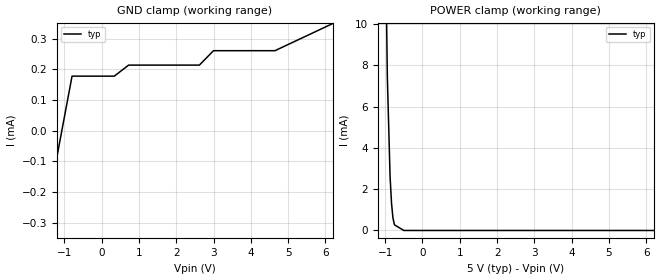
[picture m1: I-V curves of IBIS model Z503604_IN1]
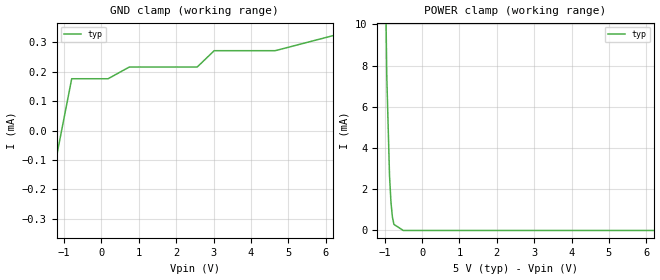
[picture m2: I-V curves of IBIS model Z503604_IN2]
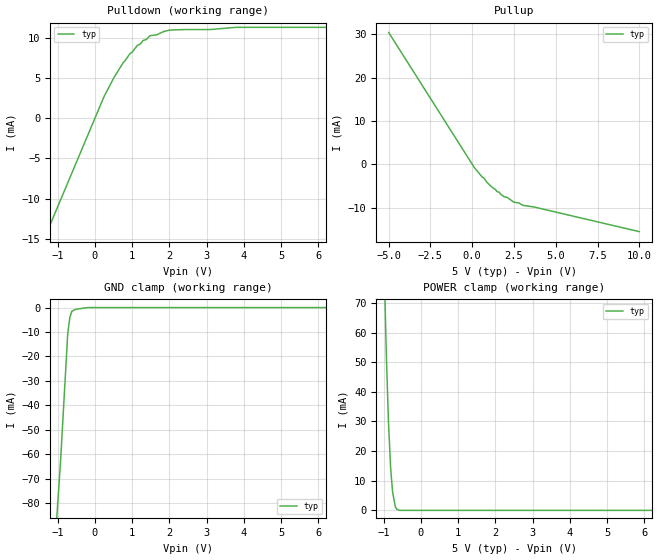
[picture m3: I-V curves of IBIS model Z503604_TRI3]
| YOU ARE ONLY AUTHORIZED TO USE THIS SOFTWARE
| ACCORDING TO LICENSOR'S LICENSE RESTRICTIONS.
[IBIS Ver] 3.1
[File Name] mc14503bp.ibs
[File Rev] 2.0
[Source] Measured and created by ICX Technology
[Date] Friday 7/14/00 9:07:55 AM
[Copyright]
| (C) COPYRIGHT 1993-2000
| MENTOR GRAPHICS CORPORATION
| ICX STANDARD LIBRARY, ICX PROJECT MODELING,
| ICX CUSTOM MODELING, ICX VENDOR MODEL
| ALL RIGHTS RESERVED.
| THE FOLLOWING ARE TRADEMARKS OR SERVICE MARKS OF
| MENTOR GRAPHICS CORPORATION:ICX (R), ICX STANDARD
| LIBRARY(R), ICX PROJECT MODELING(R), ICX CUSTOM
| MODELING(R), qualityIBIS(TM), MODELVIEWER(TM),
| AND MODELEDITOR(TM)
| ALL COPIES OF SOFTWARE, INCLUDING BUT NOT LIMITED TO
| ANY MODIFICATIONS, ENHANCEMENTS OR DERIVATIVE WORKS,
| MUST CONTAIN ALL MENTOR GRAPHICS CORPORATION'S
| NOTICES AND LEGENDS, INCLUDING THOSE EMBEDDED IN
| SOFTWARE AND THOSE AFFIXED TO SOFTWARE MEDIUM
| AND CONTAINER, AS RECEIVED FROM MENTOR GRAPHICS
| CORPORATION.
|  ZAP Model Builder 2.7
[Component] MC14503BP
[Manufacturer] OnSemiconductor
[Package]
| variable   typ   min   max
R_pkg  .212ohms NA NA
L_pkg  4.758nH NA NA
C_pkg  1.944pF NA NA
[Pin] signal_name  model_name  R_pin  L_pin C_pin
1 DISABLE Z503604_IN1 .224 7.258n 2.683p
2 IN1 Z503604_IN2 .216 5.258n 2.19p
3 OUT1 Z503604_TRI3 .208 3.758n 1.697p
4 IN2 Z503604_IN2 .2 2.758n 1.204p
5 OUT2 Z503604_TRI3 .2 2.758n 1.204p
6 IN3 Z503604_IN2 .208 3.758n 1.697p
7 OUT3 Z503604_TRI3 .216 5.258n 2.19p
8 VSS POWER .224 7.258n 2.683p
9 OUT4 Z503604_TRI3 .224 7.258n 2.683p
10 IN4 Z503604_IN2 .216 5.258n 2.19p
11 OUT5 Z503604_TRI3 .208 3.758n 1.697p
12 IN5 Z503604_IN2 .2 2.758n 1.204p
13 OUT6 Z503604_TRI3 .2 2.758n 1.204p
14 IN6 Z503604_IN2 .208 3.758n 1.697p
15 DISABLE Z503604_IN1 .216 5.258n 2.19p
16 VDD POWER .224 7.258n 2.683p
| Models and submodels in the file (3): Z503604_IN1 (Input), Z503604_IN2 (Input), Z503604_TRI3 (3-state)
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| (C) COPYRIGHT 1993-2000
| MENTOR GRAPHICS CORPORATION
| ICX STANDARD LIBRARY, ICX PROJECT MODELING,
| ICX CUSTOM MODELING, ICX VENDOR MODEL
| ALL RIGHTS RESERVED.
| THE FOLLOWING ARE TRADEMARKS OR SERVICE MARKS OF
| MENTOR GRAPHICS CORPORATION:ICX (R), ICX STANDARD
| LIBRARY(R), ICX PROJECT MODELING(R), ICX CUSTOM
| MODELING(R), qualityIBIS(TM), MODELVIEWER(TM),
| AND MODELEDITOR(TM)
| ALL COPIES OF SOFTWARE, INCLUDING BUT NOT LIMITED TO
| ANY MODIFICATIONS, ENHANCEMENTS OR DERIVATIVE WORKS,
| MUST CONTAIN ALL MENTOR GRAPHICS CORPORATION'S
| NOTICES AND LEGENDS, INCLUDING THOSE EMBEDDED IN
| SOFTWARE AND THOSE AFFIXED TO SOFTWARE MEDIUM
| AND CONTAINER, AS RECEIVED FROM MENTOR GRAPHICS
| CORPORATION.
| Model Application Version 1.89 2/18/99.
[Model] Z503604_IN1
Model_type Input
Vinl = 1.500V
Vinh = 3.500V
C_comp 4.000pF NA NA
| variable typ   min   max
[Voltage Range] 5.000V NA NA
[GND Clamp Reference] 0.000V NA NA
[POWER Clamp Reference] 5.000V NA NA
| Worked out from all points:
|   POWER clamp passes 1 mA (typ) near -0.81 V on its own axis
[GND Clamp]
-5V       -2.553mA   NA         NA
-794mV    177.3uA    NA         NA
338.7mV   177.3uA    NA         NA
722.9mV   213.3uA    NA         NA
2.619V    213.3uA    NA         NA
2.998V    260.3uA    NA         NA
4.646V    260.3uA    NA         NA
10V       566.4uA    NA         NA
[POWER Clamp]
-5V       1.185A     NA         NA
-1.21V    58.09mA    NA         NA
-1.049V   22.04mA    NA         NA
-942mV    7.445mA    NA         NA
-869mV    2.619mA    NA         NA
-830mV    1.329mA    NA         NA
-792mV    606.9uA    NA         NA
-751mV    273.5uA    NA         NA
-500.7mV  0A         NA         NA
10V       0A         NA         NA
| (C) COPYRIGHT 1993-2000
| MENTOR GRAPHICS CORPORATION
| ICX STANDARD LIBRARY, ICX PROJECT MODELING,
| ICX CUSTOM MODELING, ICX VENDOR MODEL
| ALL RIGHTS RESERVED.
| THE FOLLOWING ARE TRADEMARKS OR SERVICE MARKS OF
| MENTOR GRAPHICS CORPORATION:ICX (R), ICX STANDARD
| LIBRARY(R), ICX PROJECT MODELING(R), ICX CUSTOM
| MODELING(R), qualityIBIS(TM), MODELVIEWER(TM),
| AND MODELEDITOR(TM)
| ALL COPIES OF SOFTWARE, INCLUDING BUT NOT LIMITED TO
| ANY MODIFICATIONS, ENHANCEMENTS OR DERIVATIVE WORKS,
| MUST CONTAIN ALL MENTOR GRAPHICS CORPORATION'S
| NOTICES AND LEGENDS, INCLUDING THOSE EMBEDDED IN
| SOFTWARE AND THOSE AFFIXED TO SOFTWARE MEDIUM
| AND CONTAINER, AS RECEIVED FROM MENTOR GRAPHICS
| CORPORATION.
| Model Application Version 1.89 2/18/99.
[Model] Z503604_IN2
Model_type Input
Vinl = 1.500V
Vinh = 3.500V
C_comp 4.000pF NA NA
| variable typ   min   max
[Voltage Range] 5.000V NA NA
[GND Clamp Reference] 0.000V NA NA
[POWER Clamp Reference] 5.000V NA NA
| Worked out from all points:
|   POWER clamp passes 1 mA (typ) near -0.81 V on its own axis
[GND Clamp]
-5V       -2.567mA   NA         NA
-794mV    176uA      NA         NA
178.7mV   176uA      NA         NA
747.9mV   215.9uA    NA         NA
2.564V    215.9uA    NA         NA
3.018V    271.4uA    NA         NA
4.651V    271.4uA    NA         NA
10V       448.3uA    NA         NA
[POWER Clamp]
-5V       1.163A     NA         NA
-1.211V   57.12mA    NA         NA
-1.05V    21.91mA    NA         NA
-942mV    7.464mA    NA         NA
-869mV    2.649mA    NA         NA
-830mV    1.36mA     NA         NA
-791mV    641.8uA    NA         NA
-751mV    294.7uA    NA         NA
-500.7mV  0A         NA         NA
10V       0A         NA         NA
| (C) COPYRIGHT 1993-2000
| MENTOR GRAPHICS CORPORATION
| ICX STANDARD LIBRARY, ICX PROJECT MODELING,
| ICX CUSTOM MODELING, ICX VENDOR MODEL
| ALL RIGHTS RESERVED.
| THE FOLLOWING ARE TRADEMARKS OR SERVICE MARKS OF
| MENTOR GRAPHICS CORPORATION:ICX (R), ICX STANDARD
| LIBRARY(R), ICX PROJECT MODELING(R), ICX CUSTOM
| MODELING(R), qualityIBIS(TM), MODELVIEWER(TM),
| AND MODELEDITOR(TM)
| ALL COPIES OF SOFTWARE, INCLUDING BUT NOT LIMITED TO
| ANY MODIFICATIONS, ENHANCEMENTS OR DERIVATIVE WORKS,
| MUST CONTAIN ALL MENTOR GRAPHICS CORPORATION'S
| NOTICES AND LEGENDS, INCLUDING THOSE EMBEDDED IN
| SOFTWARE AND THOSE AFFIXED TO SOFTWARE MEDIUM
| AND CONTAINER, AS RECEIVED FROM MENTOR GRAPHICS
| CORPORATION.
| Model Application Version 1.89 2/18/99.
[Model] Z503604_TRI3
Model_type 3-state
Vref=0.000V
Rref=500.0Mohms
Cref=50.00pF
Vmeas=2.500V
C_comp 8.000pF NA NA
| variable typ   min   max
[Voltage Range] 5.000V NA NA
[POWER Clamp Reference] 5.000V NA NA
[Pullup Reference] 5.000V NA NA
[Pulldown Reference] 0.000V NA NA
[GND Clamp Reference] 0.000V NA NA
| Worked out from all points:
|   slope of the pulldown table from 0 to 0.75 V, typ, clamps not added: 109 ohm
|   slope of the pullup table from 0 to 0.75 V, typ, clamps not added: 216 ohm
|   GND clamp passes 1 mA (typ) near -0.55 V on its own axis
|   POWER clamp passes 1 mA (typ) near -0.67 V on its own axis
[GND Clamp]
-5V       -982.1mA   NA         NA
-927.7mV  -63.85mA   NA         NA
-732.1mV  -10.82mA   NA         NA
-674.4mV  -3.985mA   NA         NA
-620mV    -1.504mA   NA         NA
-526.4mV  -779.9uA   NA         NA
-366.3mV  -346.6uA   NA         NA
-183.1mV  0A         NA         NA
10V       0A         NA         NA
[Pulldown]
-5V       -55.2mA    NA         NA
244.1mV   2.732mA    NA         NA
518.5mV   5.173mA    NA         NA
761.7mV   6.989mA    NA         NA
1.133V    9.092mA    NA         NA
1.377V    9.845mA    NA         NA
1.475V    10.32mA    NA         NA
1.653V    10.43mA    NA         NA
2.012V    11.03mA    NA         NA
3.087V    11.09mA    NA         NA
3.786V    11.37mA    NA         NA
10V       11.37mA    NA         NA
[Pullup]
-5V       30.41mA    NA         NA
125mV     -731.8uA   NA         NA
858mV     -4.04mA    NA         NA
1.474V    -6.262mA   NA         NA
1.614V    -6.417mA   NA         NA
1.909V    -7.465mA   NA         NA
2.09V     -7.611mA   NA         NA
2.49V     -8.71mA    NA         NA
2.808V    -8.901mA   NA         NA
3.066V    -9.469mA   NA         NA
3.686V    -9.811mA   NA         NA
10V       -15.51mA   NA         NA
[POWER Clamp]
-5V       2.577A     NA         NA
-1.069V   126mA      NA         NA
-928mV    52.66mA    NA         NA
-873mV    30.8mA     NA         NA
-813mV    14.41mA    NA         NA
-760mV    6.264mA    NA         NA
-688mV    1.307mA    NA         NA
-649mV    418.1uA    NA         NA
-567.9mV  0A         NA         NA
10V       0A         NA         NA
[Ramp]
| variable typ min max
dV/dt_r 2.783/14.78n NA NA
dV/dt_f 2.783/14.31n NA NA
R_load = 2.500kOhms
